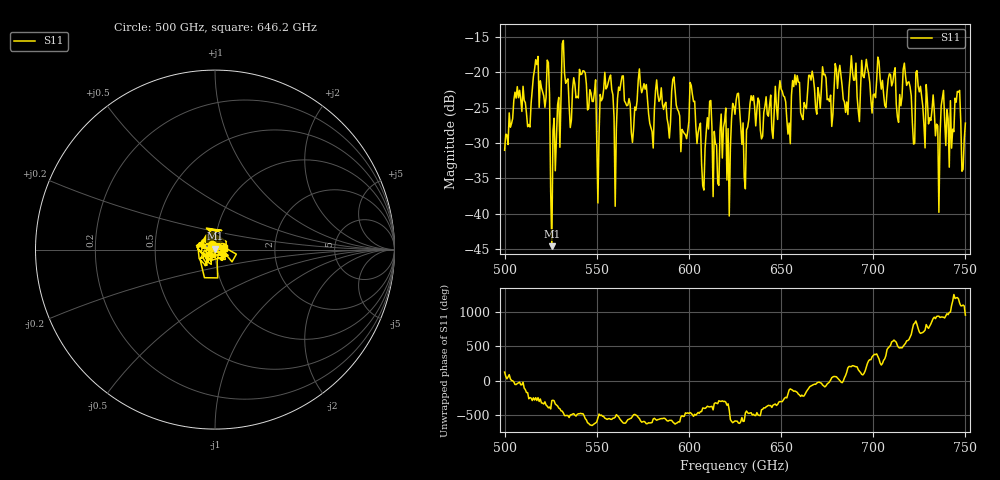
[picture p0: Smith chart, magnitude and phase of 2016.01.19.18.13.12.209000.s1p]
!Created with skrf (http://scikit-rf.org).
# GHz S RI R 50.0
!freq ReS11 ImS11
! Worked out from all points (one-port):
!   401 points, 500 GHz to 750 GHz, reference 50 ohm
!   lowest |S11| = -44.6 dB at 525.6 GHz (marker M1), VSWR 1.01, Z = 50.2 + j0.557 ohm
!   |S11| at or under -10 dB: start of sweep to end of sweep
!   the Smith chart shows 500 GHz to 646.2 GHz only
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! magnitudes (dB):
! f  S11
! 500 GHz  -31.0
! 506.9 GHz  -22.0
! 513.1 GHz  -27.4
! 516.9 GHz  -18.2
! 523.1 GHz  -18.3
! 525.6 GHz  -44.6
! 531.2 GHz  -16.0
! 542.5 GHz  -19.8
! 551.2 GHz  -28.6
! 553.1 GHz  -23.7
! 560 GHz  -38.9
! 562.5 GHz  -22.6
! 570 GHz  -28.0
! 593.8 GHz  -25.2
! 596.9 GHz  -28.4
! 601.9 GHz  -23.1
! 608.1 GHz  -36.6
! 611.2 GHz  -24.1
! 621.9 GHz  -40.3
! 625 GHz  -25.9
! 630 GHz  -34.8
! 634.4 GHz  -24.0
! 656.2 GHz  -21.2
! 687.5 GHz  -20.3
! 718.8 GHz  -21.4
! 735 GHz  -27.6
! 745.6 GHz  -22.7
! 750 GHz  -27.2
